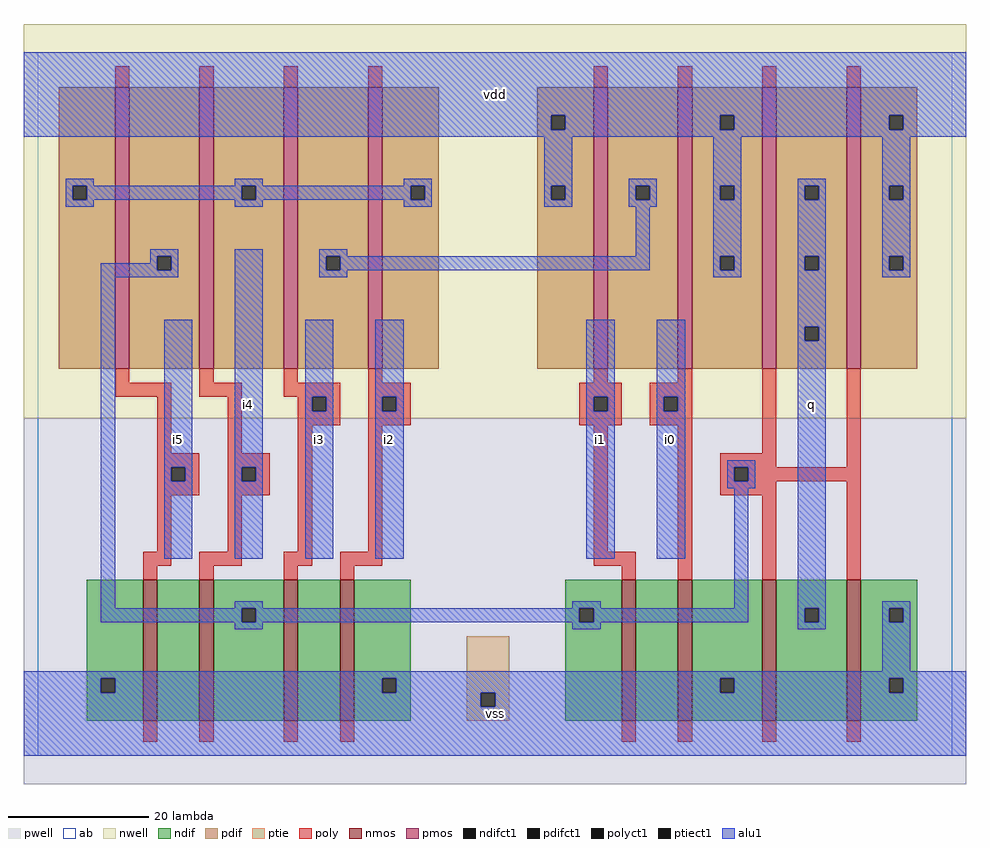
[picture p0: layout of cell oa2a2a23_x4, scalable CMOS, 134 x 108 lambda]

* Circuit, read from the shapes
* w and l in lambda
.subckt oa2a2a23_x4 i0 i1 i2 i3 i4 i5 q vdd vss
M1 n1 i5 vss vss nfet w=20 l=2
M2 n2 i4 n1 vss nfet w=20 l=2
M3 n3 i3 n2 vss nfet w=20 l=2
M4 vss i2 n3 vss nfet w=20 l=2
M5 n4 i1 n2 vss nfet w=20 l=2
M6 vss i0 n4 vss nfet w=20 l=2
M7 q n2 vss vss nfet w=20 l=2 m=2
M8 n2 i5 n5 n6 pfet w=40 l=2
M9 n5 i4 n2 n6 pfet w=40 l=2
M10 n7 i3 n5 n6 pfet w=40 l=2
M11 n5 i2 n7 n6 pfet w=40 l=2
M12 n7 i1 vdd n6 pfet w=40 l=2
M13 vdd i0 n7 n6 pfet w=40 l=2
M14 q n2 vdd n6 pfet w=40 l=2 m=2
.ends

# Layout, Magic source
magic
tech scmos
<< ab >>
rect 0 0 130 100
<< nwell >>
rect -2 48 132 104
<< pwell >>
rect -2 -4 132 48
<< poly >>
rect 11 95 13 98
rect 23 95 25 98
rect 35 95 37 98
rect 47 95 49 98
rect 79 95 81 98
rect 91 95 93 98
rect 103 95 105 98
rect 115 95 117 98
rect 11 53 13 55
rect 23 53 25 55
rect 35 53 37 55
rect 47 53 49 55
rect 79 53 81 55
rect 91 53 93 55
rect 11 51 19 53
rect 23 51 29 53
rect 35 51 43 53
rect 17 43 19 51
rect 27 43 29 51
rect 37 49 39 51
rect 41 49 43 51
rect 37 47 43 49
rect 47 51 53 53
rect 47 49 49 51
rect 51 49 53 51
rect 47 47 53 49
rect 77 51 83 53
rect 77 49 79 51
rect 81 49 83 51
rect 77 47 83 49
rect 87 51 93 53
rect 87 49 89 51
rect 91 49 93 51
rect 87 47 93 49
rect 17 41 23 43
rect 17 39 19 41
rect 21 39 23 41
rect 17 37 23 39
rect 27 41 33 43
rect 27 39 29 41
rect 31 39 33 41
rect 27 37 33 39
rect 17 29 19 37
rect 27 29 29 37
rect 37 29 39 47
rect 47 29 49 47
rect 15 27 19 29
rect 23 27 29 29
rect 35 27 39 29
rect 43 27 49 29
rect 79 29 81 47
rect 79 27 85 29
rect 15 25 17 27
rect 23 25 25 27
rect 35 25 37 27
rect 43 25 45 27
rect 83 25 85 27
rect 91 25 93 47
rect 103 43 105 55
rect 97 41 105 43
rect 115 41 117 55
rect 97 39 99 41
rect 101 39 117 41
rect 97 37 105 39
rect 103 25 105 37
rect 115 25 117 39
rect 15 2 17 5
rect 23 2 25 5
rect 35 2 37 5
rect 43 2 45 5
rect 83 2 85 5
rect 91 2 93 5
rect 103 2 105 5
rect 115 2 117 5
<< ndif >>
rect 7 11 15 25
rect 7 9 9 11
rect 11 9 15 11
rect 7 5 15 9
rect 17 5 23 25
rect 25 21 35 25
rect 25 19 29 21
rect 31 19 35 21
rect 25 5 35 19
rect 37 5 43 25
rect 45 11 53 25
rect 75 21 83 25
rect 75 19 77 21
rect 79 19 83 21
rect 45 9 49 11
rect 51 9 53 11
rect 45 5 53 9
rect 75 5 83 19
rect 85 5 91 25
rect 93 11 103 25
rect 93 9 97 11
rect 99 9 103 11
rect 93 5 103 9
rect 105 21 115 25
rect 105 19 109 21
rect 111 19 115 21
rect 105 5 115 19
rect 117 21 125 25
rect 117 19 121 21
rect 123 19 125 21
rect 117 11 125 19
rect 117 9 121 11
rect 123 9 125 11
rect 117 5 125 9
<< pdif >>
rect 3 81 11 95
rect 3 79 5 81
rect 7 79 11 81
rect 3 55 11 79
rect 13 71 23 95
rect 13 69 17 71
rect 19 69 23 71
rect 13 55 23 69
rect 25 81 35 95
rect 25 79 29 81
rect 31 79 35 81
rect 25 55 35 79
rect 37 71 47 95
rect 37 69 41 71
rect 43 69 47 71
rect 37 55 47 69
rect 49 81 57 95
rect 49 79 53 81
rect 55 79 57 81
rect 49 55 57 79
rect 71 91 79 95
rect 71 89 73 91
rect 75 89 79 91
rect 71 81 79 89
rect 71 79 73 81
rect 75 79 79 81
rect 71 55 79 79
rect 81 81 91 95
rect 81 79 85 81
rect 87 79 91 81
rect 81 55 91 79
rect 93 91 103 95
rect 93 89 97 91
rect 99 89 103 91
rect 93 81 103 89
rect 93 79 97 81
rect 99 79 103 81
rect 93 71 103 79
rect 93 69 97 71
rect 99 69 103 71
rect 93 55 103 69
rect 105 81 115 95
rect 105 79 109 81
rect 111 79 115 81
rect 105 71 115 79
rect 105 69 109 71
rect 111 69 115 71
rect 105 61 115 69
rect 105 59 109 61
rect 111 59 115 61
rect 105 55 115 59
rect 117 91 125 95
rect 117 89 121 91
rect 123 89 125 91
rect 117 81 125 89
rect 117 79 121 81
rect 123 79 125 81
rect 117 71 125 79
rect 117 69 121 71
rect 123 69 125 71
rect 117 55 125 69
<< alu1 >>
rect -2 91 132 100
rect -2 89 73 91
rect 75 89 97 91
rect 99 89 121 91
rect 123 89 132 91
rect -2 88 132 89
rect 4 81 8 82
rect 28 81 32 82
rect 52 81 56 82
rect 4 79 5 81
rect 7 79 29 81
rect 31 79 53 81
rect 55 79 56 81
rect 4 78 8 79
rect 28 78 32 79
rect 52 78 56 79
rect 72 81 76 88
rect 72 79 73 81
rect 75 79 76 81
rect 72 78 76 79
rect 84 81 88 82
rect 84 79 85 81
rect 87 79 88 81
rect 84 78 88 79
rect 96 81 100 88
rect 96 79 97 81
rect 99 79 100 81
rect 16 71 20 72
rect 16 70 17 71
rect 9 69 17 70
rect 19 69 20 71
rect 9 68 20 69
rect 9 21 11 68
rect 18 41 22 62
rect 18 39 19 41
rect 21 39 22 41
rect 18 28 22 39
rect 28 41 32 72
rect 40 71 44 72
rect 85 71 87 78
rect 40 69 41 71
rect 43 69 87 71
rect 96 71 100 79
rect 96 69 97 71
rect 99 69 100 71
rect 40 68 44 69
rect 96 68 100 69
rect 108 81 112 82
rect 108 79 109 81
rect 111 79 112 81
rect 108 71 112 79
rect 108 69 109 71
rect 111 69 112 71
rect 28 39 29 41
rect 31 39 32 41
rect 28 28 32 39
rect 38 51 42 62
rect 38 49 39 51
rect 41 49 42 51
rect 38 28 42 49
rect 48 51 52 62
rect 48 49 49 51
rect 51 49 52 51
rect 48 28 52 49
rect 78 51 82 62
rect 78 49 79 51
rect 81 49 82 51
rect 78 28 82 49
rect 88 51 92 62
rect 88 49 89 51
rect 91 49 92 51
rect 88 28 92 49
rect 108 61 112 69
rect 120 81 124 88
rect 120 79 121 81
rect 123 79 124 81
rect 120 71 124 79
rect 120 69 121 71
rect 123 69 124 71
rect 120 68 124 69
rect 108 59 109 61
rect 111 59 112 61
rect 98 41 102 42
rect 98 39 99 41
rect 101 39 102 41
rect 98 38 102 39
rect 28 21 32 22
rect 76 21 80 22
rect 99 21 101 38
rect 9 19 29 21
rect 31 19 77 21
rect 79 19 101 21
rect 108 21 112 59
rect 108 19 109 21
rect 111 19 112 21
rect 28 18 32 19
rect 76 18 80 19
rect 108 18 112 19
rect 120 21 124 22
rect 120 19 121 21
rect 123 19 124 21
rect 120 12 124 19
rect -2 11 132 12
rect -2 9 9 11
rect 11 9 49 11
rect 51 9 97 11
rect 99 9 121 11
rect 123 9 132 11
rect -2 7 63 9
rect 65 7 132 9
rect -2 0 132 7
<< ptie >>
rect 61 9 67 17
rect 61 7 63 9
rect 65 7 67 9
rect 61 5 67 7
<< nmos >>
rect 15 5 17 25
rect 23 5 25 25
rect 35 5 37 25
rect 43 5 45 25
rect 83 5 85 25
rect 91 5 93 25
rect 103 5 105 25
rect 115 5 117 25
<< pmos >>
rect 11 55 13 95
rect 23 55 25 95
rect 35 55 37 95
rect 47 55 49 95
rect 79 55 81 95
rect 91 55 93 95
rect 103 55 105 95
rect 115 55 117 95
<< polyct1 >>
rect 39 49 41 51
rect 49 49 51 51
rect 79 49 81 51
rect 89 49 91 51
rect 19 39 21 41
rect 29 39 31 41
rect 99 39 101 41
<< ndifct1 >>
rect 9 9 11 11
rect 29 19 31 21
rect 77 19 79 21
rect 49 9 51 11
rect 97 9 99 11
rect 109 19 111 21
rect 121 19 123 21
rect 121 9 123 11
<< ptiect1 >>
rect 63 7 65 9
<< pdifct1 >>
rect 5 79 7 81
rect 17 69 19 71
rect 29 79 31 81
rect 41 69 43 71
rect 53 79 55 81
rect 73 89 75 91
rect 73 79 75 81
rect 85 79 87 81
rect 97 89 99 91
rect 97 79 99 81
rect 97 69 99 71
rect 109 79 111 81
rect 109 69 111 71
rect 109 59 111 61
rect 121 89 123 91
rect 121 79 123 81
rect 121 69 123 71
<< labels >>
rlabel alu1 20 45 20 45 6 i5
rlabel alu1 40 45 40 45 6 i3
rlabel alu1 30 50 30 50 6 i4
rlabel alu1 65 6 65 6 6 vss
rlabel alu1 50 45 50 45 6 i2
rlabel alu1 65 94 65 94 6 vdd
rlabel alu1 90 45 90 45 6 i0
rlabel alu1 80 45 80 45 6 i1
rlabel alu1 110 50 110 50 6 q
<< end >>
